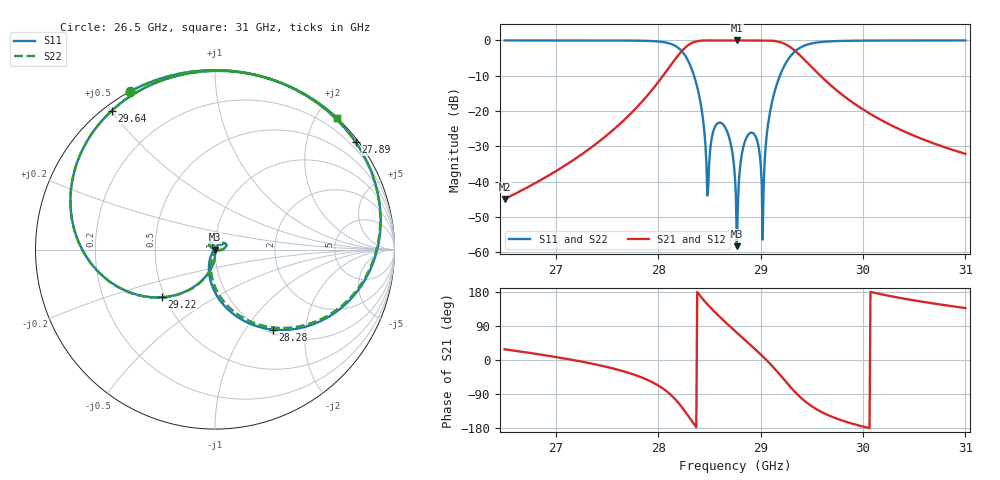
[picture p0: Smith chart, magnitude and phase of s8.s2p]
! Touchstone file from project Ka_PF
! Exported from HFSS 15.0.0
! Variables:
!  AA = 0.34in
!  BB = 0.145in
!  M01 = 0.166in
!  M11 = 0.2125in
!  M12 = 0.1117in
!  M22 = 0.2361in
!  PL = 0.3in
!  RR = 0.035in
!  TT = 0.04in
!Data is not renormalized
# GHZ S DB
! Modal data exported
! Port[1] = 1:1
! Port[2] = 2:1
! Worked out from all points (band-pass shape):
!   501 points, 26.5 GHz to 31 GHz, reference per port
!   highest |S21| = 0.00 dB at 28.77 GHz (marker M1); lowest = -44.9 dB at 26.5 GHz (marker M2)
!   |S21| within 3 dB of the highest: 28.23 GHz to 29.34 GHz (1.109 GHz wide, 3.85 % of centre)
!   lowest |S11| = -58.3 dB at 28.77 GHz (marker M3), VSWR 1.00
!   |S11| at or under -10 dB: 28.35 GHz to 29.19 GHz (838.2 MHz wide, 2.91 % of centre)
!   |S22| runs from -58.3 to 0.0 dB; largest |S21 - S12| = 1.8e-14
!   S11 on the Smith chart (normalised r, x): 26.5 GHz: 0.00, +0.60; 27.89 GHz: 0.07, +2.96; 28.28 GHz: 1.06, -1.35; 29.22 GHz: 0.48, -0.30; 29.64 GHz: 0.02, +0.50; 31 GHz: 0.00, +2.30
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26.5  -0.00 118.1  -44.94 28.3  -44.94 28.3  -0.00 118.4
! Gamma ! -0 419.682080965706 -0 419.682064779333
! Port Impedance 262.307445659107 0 262.307992973056 0
27.256  -0.00 85.4  -32.22 -4.4  -32.22 -4.4  -0.00 85.7
27.895  -0.12 37.3  -15.59 -52.4  -15.59 -52.4  -0.12 37.9
28.003  -0.30 22.0  -11.70 -67.6  -11.70 -67.6  -0.30 22.7
28.282  -5.20 -54.2  -1.56 -143.2  -1.56 -143.2  -5.20 -52.3
28.408  -16.83 -102.7  -0.09 169.9  -0.09 169.9  -16.83 -97.5
28.48  -43.94 -171.9  -0.00 147.0  -0.00 147.0  -43.94 -74.0
28.543  -25.30 42.9  -0.01 129.2  -0.01 129.2  -25.30 35.5
28.624  -23.56 19.9  -0.02 107.9  -0.02 107.9  -23.56 16.0
28.714  -30.07 -2.6  -0.00 85.4  -0.00 85.4  -30.07 -6.7
28.75  -38.96 -9.5  -0.00 76.5  -0.00 76.5  -38.96 -17.5
28.768  -58.31 13.4  -0.00 72.1  -0.00 72.1  -58.32 -49.2
28.822  -31.40 148.4  -0.00 58.9  -0.00 58.9  -31.40 149.3
28.894  -26.30 131.6  -0.01 41.4  -0.01 41.4  -26.30 131.1
28.966  -28.36 114.5  -0.01 23.6  -0.01 23.6  -28.36 112.7
29.02  -56.45 130.7  -0.00 9.8  -0.00 9.8  -56.34 67.9
29.092  -20.31 -100.3  -0.04 -9.7  -0.04 -9.7  -20.31 -99.1
29.218  -7.99 -138.2  -0.75 -48.1  -0.75 -48.1  -7.99 -137.9
29.506  -0.80 146.7  -7.75 -123.3  -7.75 -123.3  -0.80 146.8
29.641  -0.31 126.6  -11.55 -143.3  -11.55 -143.3  -0.31 126.7
30.253  -0.02 79.3  -23.72 169.3  -23.72 169.3  -0.02 79.4
31  -0.00 47.0  -32.13 137.0  -32.13 137.0  -0.00 47.1
